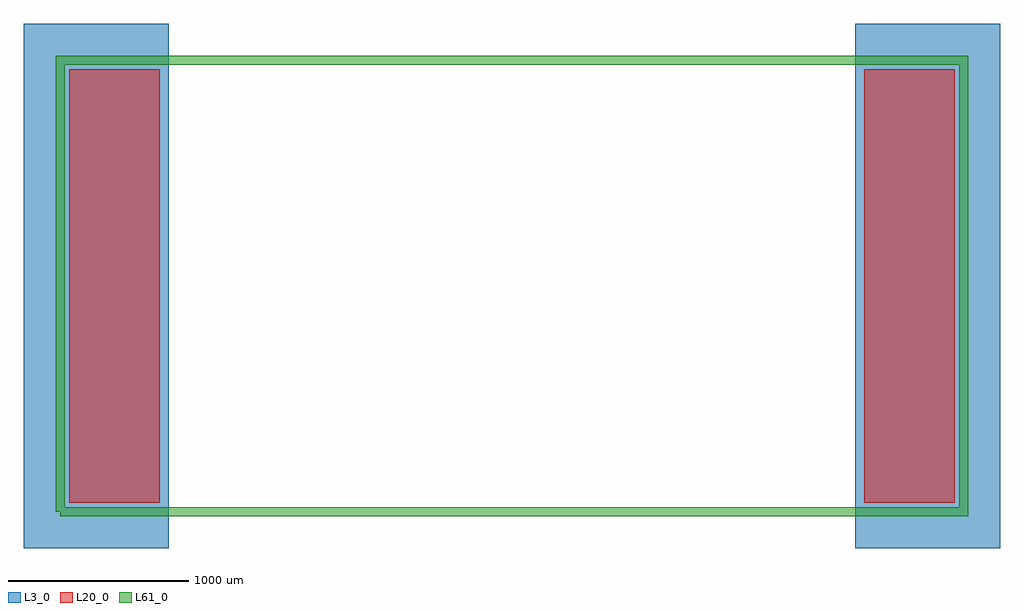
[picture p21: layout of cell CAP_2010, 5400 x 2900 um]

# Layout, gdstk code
import gdstk
lib = gdstk.Library(unit=1e-6, precision=1e-09)
def R(c, l, rs):  # rectangles x0, y0, x1, y1
    for r in rs: c.add(gdstk.rectangle(r[:2], r[2:], *l))
L3_0 = (3, 0)
L20_0 = (20, 0)
L61_0 = (61, 0)

cap_2010 = lib.new_cell('CAP_2010')
R(cap_2010, L3_0, [(-200,-200,600,2700), (4400,-200,5200,2700)])
R(cap_2010, L20_0, [(50,50,550,2450), (4450,50,4950,2450)])
cap_2010.add(gdstk.FlexPath([(0,0),(5000,0),(5000,2500),(0,2500),(0,0)], 50, ends="flush", simple_path=True, layer=61, datatype=0))  # L61_0

lib.write_gds('CAP_2010.gds')
